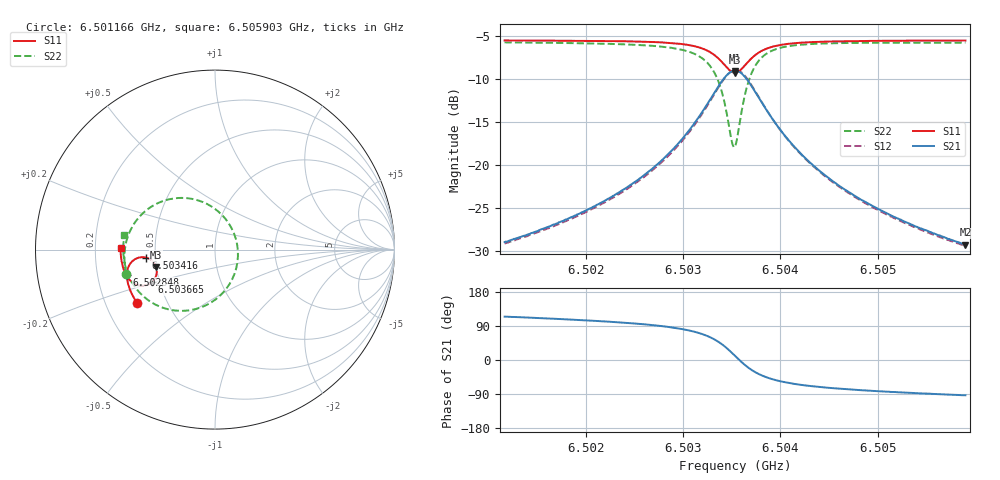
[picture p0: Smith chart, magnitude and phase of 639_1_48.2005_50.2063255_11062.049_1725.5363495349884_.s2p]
#  HZ  S  RI  R  50.00
! Rohde & Schwarz Vector Network Analyzer
! Rohde-Schwarz,ZNB20-2Port,1311601062101988,3.16
! Created: UTC 3/20/2024, 12:04:44 PM
! freq[Hz]  re:S11  im:S11  re:S21  im:S21  re:S12  im:S12  re:S22  im:S22
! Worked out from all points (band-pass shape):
!   401 points, 6.501166 GHz to 6.505903 GHz, reference 50 ohm
!   highest |S21| = -9.07 dB at 6.503535 GHz (marker M1); lowest = -29.3 dB at 6.505903 GHz (marker M2)
!   |S21| within 3 dB of the highest: 6.503298 GHz to 6.503772 GHz (473.5 kHz wide, 0.00728 % of centre)
!   lowest |S11| = -9.3 dB at 6.503535 GHz (marker M3), VSWR 2.04, Z = 24.9 - j5.57 ohm
!   |S11| at or under -10 dB: nowhere
!   |S22| runs from -18.0 to -5.8 dB; largest |S21 - S12| = 0.013
!   S11 on the Smith chart (normalised r, x): 6.501166 GHz: 0.34, -0.27; 6.502848 GHz: 0.33, -0.12; 6.503416 GHz: 0.44, -0.05; 6.503665 GHz: 0.46, -0.19; 6.505903 GHz: 0.31, +0.01
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6.5011663e9  -0.4365 -0.2948  -0.0147 0.0324  -0.0129 0.0324  -0.4949 -0.1363
6.5019597e9  -0.4691 -0.2342  -0.0138 0.0512  -0.0112 0.0506  -0.505 -0.0483
6.5023742e9  -0.4829 -0.1961  -0.0109 0.0702  -0.0076 0.0689  -0.5005 0.0133
6.5027531e9  -0.491 -0.1525  -0.000537 0.1026  0.0033 0.1001  -0.4776 0.0937
6.5028479e9  -0.4912 -0.139  0.00541 0.115  0.00926 0.112  -0.4646 0.1206
6.5030492e9  -0.4854 -0.1045  0.0303 0.1516  0.0342 0.1469  -0.4131 0.1914
6.5031913e9  -0.4691 -0.0739  0.0716 0.1867  0.0747 0.1805  -0.333 0.2518
6.5033216e9  -0.4315 -0.047  0.1516 0.213  0.1526 0.2064  -0.1878 0.2881
6.5034163e9  -0.3831 -0.0447  0.2463 0.1955  0.2468 0.1907  -0.0236 0.2426
6.5034992e9  -0.3387 -0.0757  0.3271 0.1177  0.3303 0.1132  0.1061 0.0894
6.5035347e9  -0.3274 -0.0988  0.3454 0.0671  0.3496 0.0612  0.1275 -0.00603
6.5035584e9  -0.3244 -0.1158  0.3489 0.0309  0.3535 0.0237  0.1247 -0.0724
6.5035939e9  -0.3267 -0.141  0.341 -0.0212  0.345 -0.0308  0.0959 -0.165
6.503665e9  -0.35 -0.1796  0.2921 -0.1  0.2923 -0.1127  -0.0192 -0.293
6.5037124e9  -0.3715 -0.1939  0.2502 -0.1298  0.2474 -0.1422  -0.1067 -0.3308
6.5037716e9  -0.3974 -0.2008  0.2015 -0.1466  0.1958 -0.1575  -0.2029 -0.3408
6.5039137e9  -0.4433 -0.1928  0.1192 -0.1435  0.1116 -0.1496  -0.3515 -0.2954
6.5040795e9  -0.4732 -0.1716  0.0697 -0.1217  0.0627 -0.1244  -0.4321 -0.226
6.5043282e9  -0.4959 -0.1402  0.0356 -0.0936  0.0305 -0.0944  -0.4809 -0.1462
6.5046716e9  -0.5114 -0.1027  0.0162 -0.0695  0.0125 -0.0692  -0.5042 -0.0718
6.5051216e9  -0.5211 -0.06  0.00552 -0.051  0.00301 -0.0504  -0.5112 -0.00375
6.5059032e9  -0.5263 0.00716  -0.00182 -0.0344  -0.00338 -0.0335  -0.5046 0.0824
